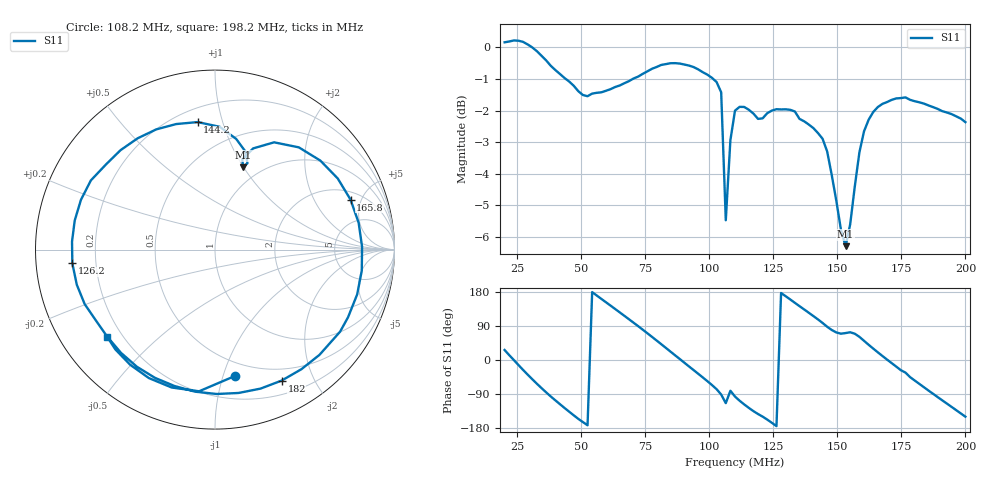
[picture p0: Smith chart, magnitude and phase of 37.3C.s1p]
# HZ S RI R 50
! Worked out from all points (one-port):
!   101 points, 20 MHz to 200 MHz, reference 50 ohm
!   lowest |S11| = -6.3 dB at 153.2 MHz (marker M1), VSWR 2.88, Z = 41.6 + j49.8 ohm
!   |S11| at or under -10 dB: nowhere
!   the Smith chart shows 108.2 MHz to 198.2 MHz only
!   S11 on the Smith chart (normalised r, x): 108.2 MHz: 0.38, -1.09; 126.2 MHz: 0.11, -0.05; 144.2 MHz: 0.28, +0.83; 165.8 MHz: 2.56, +4.05; 182 MHz: 0.36, -1.58; 198.2 MHz: 0.14, -0.35
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2e7  0.9128 0.4529
2.54e7  0.9977 -0.2346
3.26e7  0.4544 -0.8757
4.34e7  -0.5323 -0.7192
5.42e7  -0.8451 0.0119
6.5e7  -0.506 0.7086
7.58e7  0.3074 0.8637
8.84e7  0.942 0.0448
9.38e7  0.8334 -0.4153
1.01e8  0.3637 -0.818
1.046e8  -0.0166 -0.8491
1.064e8  -0.2151 -0.4874
1.082e8  0.1096 -0.7048
1.1e8  -0.0886 -0.7894
1.172e8  -0.555 -0.5564
1.262e8  -0.7949 -0.0766
1.334e8  -0.6916 0.3855
1.442e8  -0.0969 0.7105
1.532e8  0.1572 0.4585
1.55e8  0.152 0.5026
1.604e8  0.4672 0.5696
1.658e8  0.7551 0.2785
1.712e8  0.8177 -0.1182
1.784e8  0.582 -0.5865
1.82e8  0.3723 -0.7293
1.892e8  -0.1116 -0.7914
1.982e8  -0.5996 -0.4858
2e8  -0.6568 -0.3858
